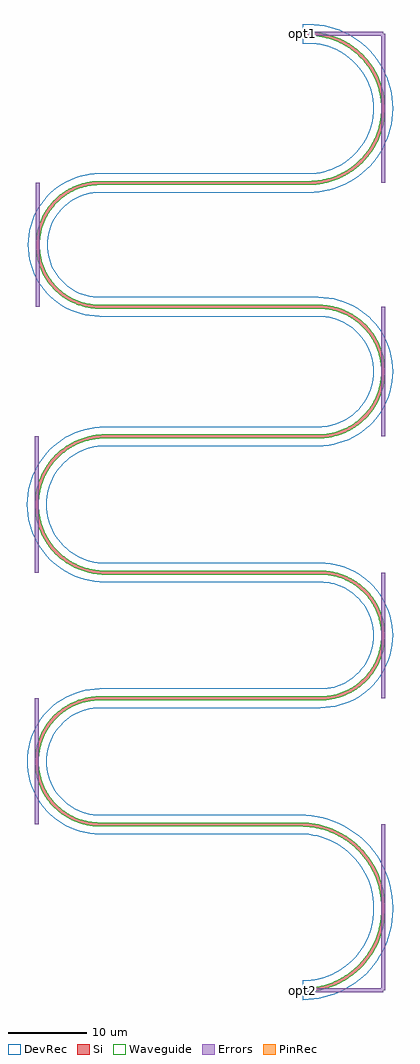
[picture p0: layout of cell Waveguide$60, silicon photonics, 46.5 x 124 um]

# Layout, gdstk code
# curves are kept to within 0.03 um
import gdstk
lib = gdstk.Library(unit=1e-6, precision=1e-09)
def P(c, l, *ps):  # polygons
    for p in ps: c.add(gdstk.Polygon(p, *l))
Si = (1, 0)
PinRec = (1, 10)
Waveguide = (1, 99)
DevRec = (68, 0)
Errors = (999, 0)

waveguide_60 = lib.new_cell('Waveguide$60')
P(waveguide_60, Si, [(54.769,16),(54.769,16.5),(55.562,16.531),(56.351,16.626),(57.128,16.783),(57.891,17.001),(58.634,17.278),(59.529,17.708),(60.211,18.114),(60.859,18.573),(61.896,19.494),(62.797,20.55),(63.542,21.721),(63.892,22.433),(64.185,23.171),(64.418,23.93),(64.591,24.705),(64.742,26.084),(64.7,27.782),(64.59,28.581),(64.417,29.369),(63.968,30.707),(63.63,31.439),(63.236,32.143),(62.418,33.293),(61.882,33.897),(61.3,34.456),(60.676,34.968),(60.014,35.429),(59.139,35.93),(58.407,36.268),(57.65,36.547),(56.874,36.766),(56.082,36.923),(55.281,37.019),(28.83,37.052),(27.723,37.152),(26.639,37.399),(25.939,37.644),(25.264,37.951),(24.619,38.317),(24.009,38.739),(23.44,39.214),(22.915,39.739),(22.44,40.308),(22.018,40.918),(21.652,41.563),(21.345,42.238),(21.1,42.938),(20.919,43.657),(20.803,44.39),(20.753,45.129),(20.784,46.055),(20.884,46.79),(21.155,47.869),(21.652,49.067),(22.33,50.173),(23.172,51.159),(24.158,52.001),(25.264,52.679),(26.462,53.176),(27.541,53.447),(28.276,53.547),(29.016,53.58),(57.188,53.582),(57.881,53.628),(58.567,53.737),(59.239,53.906),(60.055,54.203),(60.681,54.503),(61.419,54.956),(61.972,55.377),(62.606,55.97),(63.169,56.629),(63.656,57.348),(63.984,57.958),(64.316,58.76),(64.516,59.425),(64.68,60.276),(64.748,61.142),(64.733,61.835),(64.626,62.696),(64.424,63.539),(64.194,64.194),(63.827,64.981),(63.374,65.719),(62.84,66.404),(62.104,67.14),(61.419,67.674),(60.681,68.127),(59.733,68.557),(58.905,68.816),(57.881,69.002),(57.015,69.05),(29.464,69.052),(28.318,69.151),(27.012,69.451),(26.292,69.709),(25.596,70.029),(24.929,70.408),(24.298,70.842),(23.706,71.329),(23.159,71.865),(22.658,72.446),(22.211,73.068),(21.818,73.725),(21.484,74.415),(21.21,75.131),(20.998,75.867),(20.851,76.618),(20.769,77.381),(20.752,78.146),(20.801,78.911),(20.917,79.669),(21.096,80.414),(21.562,81.671),(22.211,82.842),(23.029,83.904),(23.996,84.831),(25.092,85.602),(26.292,86.201),(27.012,86.459),(27.754,86.654),(28.699,86.809),(29.655,86.86),(56.942,86.862),(57.647,86.908),(58.345,87.018),(59.199,87.24),(59.861,87.485),(60.5,87.787),(61.109,88.145),(61.822,88.665),(62.348,89.136),(62.831,89.653),(63.267,90.21),(63.739,90.955),(64.055,91.586),(64.315,92.244),(64.555,93.093),(64.68,93.789),(64.742,94.492),(64.742,95.198),(64.68,95.901),(64.555,96.597),(64.315,97.446),(63.823,98.58),(63.267,99.48),(62.595,100.301),(61.822,101.025),(60.96,101.639),(60.024,102.135),(59.03,102.502),(57.996,102.734),(56.765,102.83),(28.795,102.832),(27.693,102.933),(26.615,103.183),(25.414,103.656),(24.303,104.314),(23.311,105.14),(22.462,106.113),(21.779,107.209),(21.279,108.399),(20.973,109.653),(20.87,110.94),(20.904,111.678),(21.004,112.409),(21.338,113.656),(21.866,114.834),(22.575,115.914),(23.444,116.867),(24.006,117.345),(24.609,117.771),(25.749,118.378),(26.971,118.797),(27.876,118.975),(28.98,119.05),(56.097,119.068),(56.855,119.146),(57.605,119.288),(58.878,119.681),(60.083,120.254),(61.191,120.995),(61.773,121.488),(62.312,122.027),(63.141,123.071),(63.813,124.224),(64.119,124.922),(64.366,125.642),(64.654,126.945),(64.732,127.703),(64.748,128.466),(64.624,129.794),(64.468,130.54),(64.251,131.271),(63.727,132.497),(63.032,133.636),(62.181,134.662),(61.191,135.555),(60.409,136.101),(59.747,136.477),(59.055,136.798),(58.158,137.116),(57.417,137.303),(56.666,137.429),(55.907,137.492),(54.769,137.5),(54.769,138),(55.526,138),(56.328,137.967),(57.126,137.868),(58.492,137.536),(59.796,137.011),(60.503,136.63),(61.176,136.19),(61.81,135.696),(62.402,135.152),(63.321,134.088),(64.078,132.904),(64.431,132.182),(64.723,131.433),(65.083,130.074),(65.198,129.278),(65.248,128.476),(65.175,127.072),(65.043,126.279),(64.846,125.5),(64.348,124.185),(63.98,123.471),(63.555,122.789),(63.074,122.144),(62.543,121.542),(61.499,120.601),(60.329,119.82),(59.06,119.215),(57.717,118.8),(56.927,118.652),(56.127,118.568),(28.98,118.55),(28.115,118.501),(27.093,118.313),(25.949,117.92),(24.879,117.351),(23.914,116.619),(23.419,116.134),(22.969,115.606),(22.304,114.594),(22,113.971),(21.753,113.325),(21.467,112.147),(21.37,110.94),(21.467,109.733),(21.753,108.555),(22.223,107.439),(22.864,106.411),(23.661,105.498),(24.591,104.724),(25.634,104.106),(26.761,103.661),(27.773,103.427),(28.807,103.332),(56.765,103.33),(58.074,103.228),(59.172,102.982),(60.398,102.513),(61.381,101.965),(62.283,101.291),(63.087,100.504),(63.781,99.618),(64.351,98.647),(64.787,97.61),(65,96.889),(65.176,95.969),(65.242,95.22),(65.242,94.47),(65.176,93.721),(65,92.801),(64.787,92.08),(64.511,91.382),(64.175,90.711),(63.781,90.072),(63.211,89.327),(62.698,88.78),(62.138,88.279),(61.538,87.829),(60.734,87.345),(60.055,87.023),(59.351,86.764),(58.627,86.567),(57.889,86.434),(56.952,86.362),(29.655,86.36),(28.932,86.329),(28.037,86.203),(26.818,85.867),(26.149,85.594),(25.504,85.264),(24.454,84.558),(23.523,83.703),(23.052,83.156),(22.629,82.568),(22.016,81.461),(21.576,80.276),(21.32,79.037),(21.252,77.774),(21.299,77.053),(21.407,76.337),(21.576,75.634),(21.807,74.948),(22.094,74.285),(22.436,73.648),(22.834,73.044),(23.281,72.476),(23.907,71.823),(24.454,71.352),(25.042,70.929),(25.663,70.558),(26.313,70.242),(26.989,69.984),(28.215,69.674),(29.474,69.552),(57.015,69.55),(58.12,69.476),(59.027,69.3),(60.082,68.958),(60.917,68.567),(61.705,68.084),(62.434,67.516),(63.094,66.871),(63.784,66.005),(64.267,65.217),(64.658,64.382),(64.902,63.683),(65.118,62.786),(65.217,62.053),(65.248,61.13),(65.176,60.21),(65.044,59.482),(64.788,58.596),(64.513,57.91),(64.084,57.09),(63.567,56.327),(62.968,55.624),(62.434,55.114),(61.705,54.546),(60.917,54.063),(60.251,53.743),(59.56,53.483),(58.848,53.286),(58.12,53.154),(57.2,53.082),(29.016,53.08),(28.32,53.049),(27.629,52.955),(26.452,52.644),(25.336,52.153),(24.452,51.597),(23.526,50.805),(22.734,49.879),(22.178,48.995),(21.687,47.879),(21.376,46.702),(21.282,46.011),(21.251,45.315),(21.282,44.619),(21.376,43.928),(21.531,43.25),(21.746,42.587),(22.02,41.945),(22.35,41.332),(22.734,40.751),(23.168,40.207),(23.65,39.703),(24.174,39.245),(24.739,38.835),(25.336,38.477),(26.125,38.108),(26.783,37.879),(27.801,37.646),(28.842,37.552),(54.475,37.55),(55.532,37.498),(56.369,37.382),(57.195,37.201),(58.005,36.955),(58.794,36.647),(59.554,36.278),(60.461,35.734),(61.146,35.236),(61.789,34.688),(62.804,33.611),(63.315,32.936),(63.771,32.224),(64.43,30.899),(64.723,30.104),(64.952,29.29),(65.117,28.46),(65.217,27.621),(65.232,25.856),(65.149,25.028),(65,24.207),(64.586,22.81),(64.263,22.041),(63.88,21.3),(63.44,20.593),(62.945,19.923),(62.398,19.295),(61.803,18.711),(60.657,17.81),(59.397,17.077),(58.635,16.739),(57.848,16.463),(56.429,16.132),(55.602,16.033)])
P(waveguide_60, Waveguide, [(54.769,16),(54.769,16.5),(55.562,16.531),(56.351,16.626),(57.128,16.783),(57.891,17.001),(58.634,17.278),(59.529,17.708),(60.211,18.114),(60.859,18.573),(61.896,19.494),(62.797,20.55),(63.542,21.721),(63.892,22.433),(64.185,23.171),(64.418,23.93),(64.591,24.705),(64.742,26.084),(64.7,27.782),(64.59,28.581),(64.417,29.369),(63.968,30.707),(63.63,31.439),(63.236,32.143),(62.418,33.293),(61.882,33.897),(61.3,34.456),(60.676,34.968),(60.014,35.429),(59.139,35.93),(58.407,36.268),(57.65,36.547),(56.874,36.766),(56.082,36.923),(55.281,37.019),(28.83,37.052),(27.723,37.152),(26.639,37.399),(25.939,37.644),(25.264,37.951),(24.619,38.317),(24.009,38.739),(23.44,39.214),(22.915,39.739),(22.44,40.308),(22.018,40.918),(21.652,41.563),(21.345,42.238),(21.1,42.938),(20.919,43.657),(20.803,44.39),(20.753,45.129),(20.784,46.055),(20.884,46.79),(21.155,47.869),(21.652,49.067),(22.33,50.173),(23.172,51.159),(24.158,52.001),(25.264,52.679),(26.462,53.176),(27.541,53.447),(28.276,53.547),(29.016,53.58),(57.188,53.582),(57.881,53.628),(58.567,53.737),(59.239,53.906),(60.055,54.203),(60.681,54.503),(61.419,54.956),(61.972,55.377),(62.606,55.97),(63.169,56.629),(63.656,57.348),(63.984,57.958),(64.316,58.76),(64.516,59.425),(64.68,60.276),(64.748,61.142),(64.733,61.835),(64.626,62.696),(64.424,63.539),(64.194,64.194),(63.827,64.981),(63.374,65.719),(62.84,66.404),(62.104,67.14),(61.419,67.674),(60.681,68.127),(59.733,68.557),(58.905,68.816),(57.881,69.002),(57.015,69.05),(29.464,69.052),(28.318,69.151),(27.012,69.451),(26.292,69.709),(25.596,70.029),(24.929,70.408),(24.298,70.842),(23.706,71.329),(23.159,71.865),(22.658,72.446),(22.211,73.068),(21.818,73.725),(21.484,74.415),(21.21,75.131),(20.998,75.867),(20.851,76.618),(20.769,77.381),(20.752,78.146),(20.801,78.911),(20.917,79.669),(21.096,80.414),(21.562,81.671),(22.211,82.842),(23.029,83.904),(23.996,84.831),(25.092,85.602),(26.292,86.201),(27.012,86.459),(27.754,86.654),(28.699,86.809),(29.655,86.86),(56.942,86.862),(57.647,86.908),(58.345,87.018),(59.199,87.24),(59.861,87.485),(60.5,87.787),(61.109,88.145),(61.822,88.665),(62.348,89.136),(62.831,89.653),(63.267,90.21),(63.739,90.955),(64.055,91.586),(64.315,92.244),(64.555,93.093),(64.68,93.789),(64.742,94.492),(64.742,95.198),(64.68,95.901),(64.555,96.597),(64.315,97.446),(63.823,98.58),(63.267,99.48),(62.595,100.301),(61.822,101.025),(60.96,101.639),(60.024,102.135),(59.03,102.502),(57.996,102.734),(56.765,102.83),(28.795,102.832),(27.693,102.933),(26.615,103.183),(25.414,103.656),(24.303,104.314),(23.311,105.14),(22.462,106.113),(21.779,107.209),(21.279,108.399),(20.973,109.653),(20.87,110.94),(20.904,111.678),(21.004,112.409),(21.338,113.656),(21.866,114.834),(22.575,115.914),(23.444,116.867),(24.006,117.345),(24.609,117.771),(25.749,118.378),(26.971,118.797),(27.876,118.975),(28.98,119.05),(56.097,119.068),(56.855,119.146),(57.605,119.288),(58.878,119.681),(60.083,120.254),(61.191,120.995),(61.773,121.488),(62.312,122.027),(63.141,123.071),(63.813,124.224),(64.119,124.922),(64.366,125.642),(64.654,126.945),(64.732,127.703),(64.748,128.466),(64.624,129.794),(64.468,130.54),(64.251,131.271),(63.727,132.497),(63.032,133.636),(62.181,134.662),(61.191,135.555),(60.409,136.101),(59.747,136.477),(59.055,136.798),(58.158,137.116),(57.417,137.303),(56.666,137.429),(55.907,137.492),(54.769,137.5),(54.769,138),(55.526,138),(56.328,137.967),(57.126,137.868),(58.492,137.536),(59.796,137.011),(60.503,136.63),(61.176,136.19),(61.81,135.696),(62.402,135.152),(63.321,134.088),(64.078,132.904),(64.431,132.182),(64.723,131.433),(65.083,130.074),(65.198,129.278),(65.248,128.476),(65.175,127.072),(65.043,126.279),(64.846,125.5),(64.348,124.185),(63.98,123.471),(63.555,122.789),(63.074,122.144),(62.543,121.542),(61.499,120.601),(60.329,119.82),(59.06,119.215),(57.717,118.8),(56.927,118.652),(56.127,118.568),(28.98,118.55),(28.115,118.501),(27.093,118.313),(25.949,117.92),(24.879,117.351),(23.914,116.619),(23.419,116.134),(22.969,115.606),(22.304,114.594),(22,113.971),(21.753,113.325),(21.467,112.147),(21.37,110.94),(21.467,109.733),(21.753,108.555),(22.223,107.439),(22.864,106.411),(23.661,105.498),(24.591,104.724),(25.634,104.106),(26.761,103.661),(27.773,103.427),(28.807,103.332),(56.765,103.33),(58.074,103.228),(59.172,102.982),(60.398,102.513),(61.381,101.965),(62.283,101.291),(63.087,100.504),(63.781,99.618),(64.351,98.647),(64.787,97.61),(65,96.889),(65.176,95.969),(65.242,95.22),(65.242,94.47),(65.176,93.721),(65,92.801),(64.787,92.08),(64.511,91.382),(64.175,90.711),(63.781,90.072),(63.211,89.327),(62.698,88.78),(62.138,88.279),(61.538,87.829),(60.734,87.345),(60.055,87.023),(59.351,86.764),(58.627,86.567),(57.889,86.434),(56.952,86.362),(29.655,86.36),(28.932,86.329),(28.037,86.203),(26.818,85.867),(26.149,85.594),(25.504,85.264),(24.454,84.558),(23.523,83.703),(23.052,83.156),(22.629,82.568),(22.016,81.461),(21.576,80.276),(21.32,79.037),(21.252,77.774),(21.299,77.053),(21.407,76.337),(21.576,75.634),(21.807,74.948),(22.094,74.285),(22.436,73.648),(22.834,73.044),(23.281,72.476),(23.907,71.823),(24.454,71.352),(25.042,70.929),(25.663,70.558),(26.313,70.242),(26.989,69.984),(28.215,69.674),(29.474,69.552),(57.015,69.55),(58.12,69.476),(59.027,69.3),(60.082,68.958),(60.917,68.567),(61.705,68.084),(62.434,67.516),(63.094,66.871),(63.784,66.005),(64.267,65.217),(64.658,64.382),(64.902,63.683),(65.118,62.786),(65.217,62.053),(65.248,61.13),(65.176,60.21),(65.044,59.482),(64.788,58.596),(64.513,57.91),(64.084,57.09),(63.567,56.327),(62.968,55.624),(62.434,55.114),(61.705,54.546),(60.917,54.063),(60.251,53.743),(59.56,53.483),(58.848,53.286),(58.12,53.154),(57.2,53.082),(29.016,53.08),(28.32,53.049),(27.629,52.955),(26.452,52.644),(25.336,52.153),(24.452,51.597),(23.526,50.805),(22.734,49.879),(22.178,48.995),(21.687,47.879),(21.376,46.702),(21.282,46.011),(21.251,45.315),(21.282,44.619),(21.376,43.928),(21.531,43.25),(21.746,42.587),(22.02,41.945),(22.35,41.332),(22.734,40.751),(23.168,40.207),(23.65,39.703),(24.174,39.245),(24.739,38.835),(25.336,38.477),(26.125,38.108),(26.783,37.879),(27.801,37.646),(28.842,37.552),(54.475,37.55),(55.532,37.498),(56.369,37.382),(57.195,37.201),(58.005,36.955),(58.794,36.647),(59.554,36.278),(60.461,35.734),(61.146,35.236),(61.789,34.688),(62.804,33.611),(63.315,32.936),(63.771,32.224),(64.43,30.899),(64.723,30.104),(64.952,29.29),(65.117,28.46),(65.217,27.621),(65.232,25.856),(65.149,25.028),(65,24.207),(64.586,22.81),(64.263,22.041),(63.88,21.3),(63.44,20.593),(62.945,19.923),(62.398,19.295),(61.803,18.711),(60.657,17.81),(59.397,17.077),(58.635,16.739),(57.848,16.463),(56.429,16.132),(55.602,16.033)])
P(waveguide_60, DevRec, [(54.769,15.001),(54.769,17.499),(55.851,17.566),(56.919,17.761),(57.441,17.906),(58.455,18.291),(58.942,18.528),(59.872,19.09),(60.308,19.411),(61.119,20.131),(61.839,20.942),(62.16,21.378),(62.722,22.308),(62.959,22.795),(63.344,23.809),(63.489,24.331),(63.684,25.399),(63.75,26.507),(63.682,27.894),(63.481,28.994),(63.147,30.065),(62.933,30.582),(62.412,31.574),(62.108,32.044),(61.418,32.925),(60.625,33.718),(59.744,34.408),(59.274,34.712),(58.282,35.233),(57.765,35.447),(56.694,35.781),(55.594,35.982),(55.034,36.033),(29.015,36.05),(27.755,36.137),(26.517,36.393),(25.913,36.585),(24.754,37.089),(23.673,37.746),(22.693,38.543),(22.244,38.992),(21.447,39.972),(20.79,41.053),(20.286,42.212),(20.094,42.816),(19.945,43.43),(19.773,44.682),(19.751,45.315),(19.838,46.576),(20.094,47.814),(20.286,48.418),(20.79,49.577),(21.447,50.658),(22.244,51.638),(22.693,52.087),(23.673,52.884),(24.754,53.541),(25.913,54.045),(27.131,54.386),(28.383,54.558),(29.015,54.58),(57.014,54.58),(57.932,54.642),(58.385,54.721),(59.27,54.969),(59.698,55.138),(60.515,55.56),(60.899,55.812),(61.265,56.09),(61.937,56.718),(62.518,57.431),(62.77,57.815),(62.995,58.216),(63.361,59.06),(63.5,59.498),(63.688,60.398),(63.75,61.315),(63.734,61.775),(63.688,62.232),(63.5,63.132),(63.361,63.57),(62.995,64.414),(62.77,64.815),(62.24,65.565),(61.612,66.237),(60.899,66.818),(60.114,67.295),(59.27,67.661),(58.832,67.8),(57.932,67.988),(57.014,68.05),(29.654,68.05),(28.363,68.135),(27.722,68.24),(26.471,68.575),(25.864,68.804),(24.702,69.378),(24.152,69.72),(23.124,70.508),(22.208,71.424),(21.42,72.452),(21.078,73.002),(20.504,74.164),(20.275,74.771),(19.94,76.022),(19.835,76.663),(19.75,77.955),(19.835,79.247),(20.088,80.519),(20.504,81.746),(21.078,82.908),(21.42,83.458),(22.208,84.486),(23.124,85.402),(24.152,86.19),(24.702,86.532),(25.864,87.106),(26.471,87.335),(27.722,87.67),(28.363,87.775),(29.654,87.86),(56.764,87.86),(57.241,87.876),(58.187,88.006),(59.104,88.263),(59.548,88.438),(59.979,88.643),(60.793,89.138),(61.533,89.74),(62.184,90.437),(62.472,90.817),(62.967,91.631),(63.172,92.062),(63.347,92.506),(63.604,93.423),(63.734,94.369),(63.734,95.321),(63.685,95.796),(63.604,96.267),(63.347,97.184),(62.967,98.059),(62.472,98.873),(61.87,99.613),(61.173,100.264),(60.394,100.813),(59.548,101.252),(58.65,101.571),(57.716,101.765),(56.764,101.83),(28.979,101.83),(27.74,101.915),(26.521,102.168),(25.351,102.584),(24.246,103.156),(23.231,103.873),(22.762,104.282),(21.913,105.191),(21.196,106.206),(20.624,107.311),(20.397,107.888),(20.06,109.087),(19.891,110.319),(19.87,110.94),(19.891,111.561),(20.06,112.793),(20.397,113.992),(20.624,114.569),(21.196,115.674),(21.913,116.689),(22.762,117.598),(23.231,118.007),(24.246,118.724),(25.351,119.296),(26.521,119.712),(27.74,119.965),(28.979,120.05),(56.041,120.067),(57.066,120.196),(58.067,120.453),(58.553,120.627),(59.488,121.068),(59.932,121.33),(60.769,121.937),(61.155,122.279),(61.863,123.031),(62.47,123.868),(62.967,124.773),(63.347,125.733),(63.604,126.734),(63.685,127.244),(63.75,128.275),(63.685,129.306),(63.604,129.816),(63.347,130.817),(63.173,131.303),(62.732,132.238),(62.47,132.682),(61.863,133.519),(61.521,133.905),(60.769,134.613),(59.932,135.22),(59.488,135.482),(58.553,135.923),(57.57,136.241),(56.556,136.435),(56.041,136.483),(54.769,136.5),(54.769,139),(55.543,139),(56.87,138.915),(57.534,138.81),(58.839,138.475),(59.473,138.247),(60.692,137.674),(61.828,136.952),(62.867,136.093),(63.789,135.111),(64.202,134.578),(64.924,133.442),(65.497,132.223),(65.725,131.589),(66.06,130.284),(66.229,128.949),(66.229,127.601),(66.06,126.266),(65.913,125.608),(65.497,124.327),(64.924,123.108),(64.58,122.528),(63.789,121.439),(63.343,120.933),(62.361,120.011),(61.828,119.598),(60.692,118.876),(59.473,118.303),(58.192,117.887),(57.534,117.74),(56.199,117.571),(28.981,117.55),(28.08,117.489),(27.635,117.412),(26.768,117.169),(25.938,116.809),(25.546,116.588),(25.168,116.34),(24.468,115.77),(23.853,115.111),(23.58,114.752),(23.111,113.982),(22.751,113.152),(22.614,112.723),(22.431,111.84),(22.37,110.94),(22.431,110.04),(22.614,109.157),(22.751,108.728),(23.111,107.898),(23.58,107.128),(24.15,106.428),(24.468,106.11),(25.168,105.54),(25.938,105.071),(26.768,104.711),(27.197,104.574),(28.08,104.391),(28.981,104.33),(56.766,104.33),(58.056,104.241),(59.324,103.979),(60.544,103.544),(61.694,102.949),(62.751,102.202),(63.696,101.319),(64.514,100.315),(65.187,99.209),(65.703,98.022),(65.899,97.404),(66.161,96.136),(66.228,95.493),(66.228,94.197),(66.052,92.917),(65.899,92.286),(65.464,91.066),(64.869,89.916),(64.514,89.375),(63.696,88.371),(62.751,87.488),(62.235,87.096),(61.129,86.423),(60.544,86.146),(59.942,85.907),(58.693,85.558),(57.413,85.382),(56.766,85.36),(29.656,85.36),(28.687,85.297),(28.21,85.218),(27.275,84.967),(26.38,84.596),(25.952,84.368),(25.146,83.829),(24.772,83.522),(24.088,82.838),(23.498,82.068),(23.014,81.23),(22.643,80.335),(22.502,79.871),(22.313,78.923),(22.25,77.955),(22.313,76.987),(22.392,76.51),(22.643,75.575),(23.014,74.68),(23.242,74.252),(23.781,73.446),(24.088,73.072),(24.772,72.388),(25.146,72.081),(25.952,71.542),(26.38,71.314),(27.275,70.943),(27.739,70.802),(28.687,70.613),(29.656,70.55),(57.016,70.55),(58.272,70.464),(59.506,70.208),(60.694,69.786),(61.264,69.515),(62.341,68.86),(63.318,68.065),(63.765,67.618),(64.56,66.641),(65.215,65.564),(65.486,64.994),(65.908,63.806),(66.057,63.195),(66.228,61.945),(66.25,61.315),(66.164,60.058),(66.057,59.435),(65.717,58.222),(65.215,57.066),(64.906,56.517),(64.56,55.989),(63.765,55.012),(63.318,54.565),(62.341,53.77),(61.264,53.115),(60.694,52.844),(60.108,52.613),(58.895,52.273),(58.272,52.166),(57.016,52.08),(29.017,52.08),(28.095,52.017),(27.191,51.829),(26.321,51.52),(25.501,51.095),(25.115,50.842),(24.397,50.259),(23.769,49.585),(23.236,48.83),(22.811,48.01),(22.502,47.14),(22.393,46.692),(22.314,46.236),(22.251,45.315),(22.314,44.394),(22.502,43.49),(22.642,43.05),(22.811,42.62),(23.236,41.8),(23.489,41.414),(24.072,40.696),(24.397,40.371),(25.115,39.788),(25.501,39.535),(26.321,39.11),(27.191,38.801),(28.095,38.613),(29.017,38.55),(54.476,38.55),(55.894,38.464),(57.294,38.207),(58.649,37.785),(59.308,37.513),(60.566,36.852),(61.164,36.466),(61.737,36.044),(62.801,35.101),(63.744,34.037),(64.166,33.464),(64.901,32.247),(65.485,30.949),(65.716,30.278),(66.058,28.897),(66.229,27.486),(66.229,25.787),(66.062,24.412),(65.917,23.735),(65.504,22.41),(64.934,21.144),(64.594,20.541),(63.807,19.4),(63.362,18.867),(62.383,17.888),(61.29,17.032),(60.709,16.656),(59.481,16.011),(58.185,15.52),(56.838,15.188),(55.463,15.021)])
waveguide_60.add(gdstk.FlexPath([(54.779,137.75),(54.759,137.75)], 0.5, ends="flush", simple_path=True, layer=1, datatype=10))  # PinRec
waveguide_60.add(gdstk.FlexPath([(54.779,16.25),(54.759,16.25)], 0.5, ends="flush", simple_path=True, layer=1, datatype=10))  # PinRec
waveguide_60.add(gdstk.FlexPath([(54.769,137.75),(65,137.75)], 0.5, ends="flush", simple_path=True, layer=999, datatype=0))  # Errors
waveguide_60.add(gdstk.FlexPath([(65,137.75),(65,118.8)], 0.5, ends="flush", simple_path=True, layer=999, datatype=0))  # Errors
waveguide_60.add(gdstk.FlexPath([(65,137.75),(65,118.8)], 0.5, ends="flush", simple_path=True, layer=999, datatype=0))  # Errors
waveguide_60.add(gdstk.FlexPath([(21.12,118.8),(21.12,103.08)], 0.5, ends="flush", simple_path=True, layer=999, datatype=0))  # Errors
waveguide_60.add(gdstk.FlexPath([(21.12,118.8),(21.12,103.08)], 0.5, ends="flush", simple_path=True, layer=999, datatype=0))  # Errors
waveguide_60.add(gdstk.FlexPath([(65,103.08),(65,86.61)], 0.5, ends="flush", simple_path=True, layer=999, datatype=0))  # Errors
waveguide_60.add(gdstk.FlexPath([(65,103.08),(65,86.61)], 0.5, ends="flush", simple_path=True, layer=999, datatype=0))  # Errors
waveguide_60.add(gdstk.FlexPath([(21,86.61),(21,69.3)], 0.5, ends="flush", simple_path=True, layer=999, datatype=0))  # Errors
waveguide_60.add(gdstk.FlexPath([(21,86.61),(21,69.3)], 0.5, ends="flush", simple_path=True, layer=999, datatype=0))  # Errors
waveguide_60.add(gdstk.FlexPath([(65,69.3),(65,53.33)], 0.5, ends="flush", simple_path=True, layer=999, datatype=0))  # Errors
waveguide_60.add(gdstk.FlexPath([(65,69.3),(65,53.33)], 0.5, ends="flush", simple_path=True, layer=999, datatype=0))  # Errors
waveguide_60.add(gdstk.FlexPath([(21.001,53.33),(21.001,37.3)], 0.5, ends="flush", simple_path=True, layer=999, datatype=0))  # Errors
waveguide_60.add(gdstk.FlexPath([(21.001,53.33),(21.001,37.3)], 0.5, ends="flush", simple_path=True, layer=999, datatype=0))  # Errors
waveguide_60.add(gdstk.FlexPath([(65,37.3),(65,16.25)], 0.5, ends="flush", simple_path=True, layer=999, datatype=0))  # Errors
waveguide_60.add(gdstk.FlexPath([(65,37.3),(65,16.25)], 0.5, ends="flush", simple_path=True, layer=999, datatype=0))  # Errors
waveguide_60.add(gdstk.FlexPath([(65,16.25),(54.769,16.25)], 0.5, ends="flush", simple_path=True, layer=999, datatype=0))  # Errors
waveguide_60.add(gdstk.Label('opt1', (54.769,137.75), layer=1, texttype=10))
waveguide_60.add(gdstk.Label('opt2', (54.769,16.25), layer=1, texttype=10))
waveguide_60.add(gdstk.Label('Lumerical_INTERCONNECT_library=Design kits/EBeam', (54.769,137.65), layer=68, texttype=0))
waveguide_60.add(gdstk.Label('Component=ebeam_wg_integral_1550', (54.769,137.85), layer=68, texttype=0))
waveguide_60.add(gdstk.Label('cellName=Waveguide', (54.769,137.95), layer=68, texttype=0))
waveguide_60.add(gdstk.Label('Length=353.697 (microns)', (54.769,137.15), layer=68, texttype=0))
waveguide_60.add(gdstk.Label('waveguide_type=Strip TM 1550 nm, w=500 nm', (54.769,137.55), layer=68, texttype=0))

lib.write_gds('Waveguide_60.gds')
